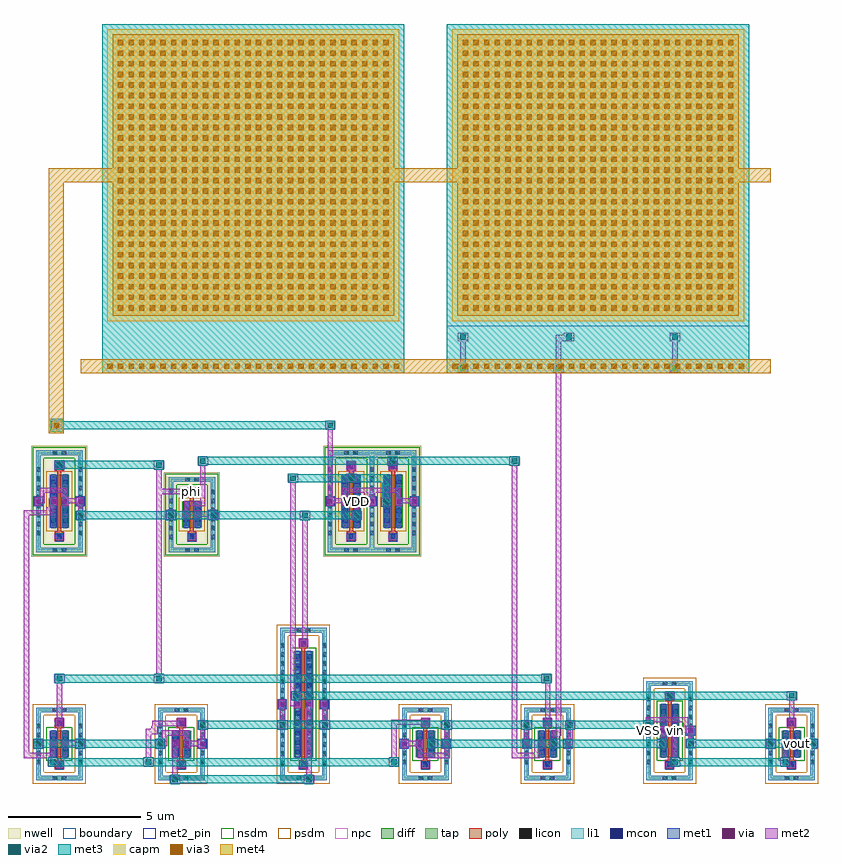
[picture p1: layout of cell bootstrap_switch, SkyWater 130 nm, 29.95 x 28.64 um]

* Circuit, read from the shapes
.subckt bootstrap_switch VDD VSS phi vin vout
XM1 VSS phi sky130_fd_pr__nfet_01v8_34VMYE_2/D VSS sky130_fd_pr__nfet_01v8 w=1 l=0.15
XM2 VSS sky130_fd_pr__nfet_01v8_34VMYE_2/D sky130_fd_pr__nfet_01v8_34VMYE_8/D VSS sky130_fd_pr__nfet_01v8 w=1 l=0.15
XM3 sky130_fd_pr__nfet_01v8_34VMYE_8/D VDD sky130_fd_pr__nfet_01v8_JSF6K7_5/D VSS sky130_fd_pr__nfet_01v8 w=4 l=0.15
XM4 sky130_fd_pr__cap_mim_m3_1_QUBC75_11/C2 sky130_fd_pr__nfet_01v8_34VMYE_2/D VSS VSS sky130_fd_pr__nfet_01v8 w=1 l=0.15
XM5 sky130_fd_pr__cap_mim_m3_1_QUBC75_11/C2 phi sky130_fd_pr__nfet_01v8_34VMYE_4/D VSS sky130_fd_pr__nfet_01v8 w=1 l=0.15
XM6 vin sky130_fd_pr__nfet_01v8_JSF6K7_5/D sky130_fd_pr__cap_mim_m3_1_QUBC75_11/C2 VSS sky130_fd_pr__nfet_01v8 w=2 l=0.15
XM7 vout sky130_fd_pr__nfet_01v8_JSF6K7_5/D vin VSS sky130_fd_pr__nfet_01v8 w=1 l=0.15
XM8 VDD phi sky130_fd_pr__nfet_01v8_34VMYE_2/D VDD sky130_fd_pr__pfet_01v8 w=2 l=0.15
XM9 VDD phi sky130_fd_pr__nfet_01v8_34VMYE_4/D VDD sky130_fd_pr__pfet_01v8 w=1 l=0.15
XM10 VDD sky130_fd_pr__nfet_01v8_JSF6K7_5/D sky130_fd_pr__pfet_01v8_VJT448_10/B sky130_fd_pr__pfet_01v8_VJT448_10/B sky130_fd_pr__pfet_01v8 w=2 l=0.15
XM11 sky130_fd_pr__pfet_01v8_VJT448_10/B sky130_fd_pr__nfet_01v8_34VMYE_4/D sky130_fd_pr__nfet_01v8_JSF6K7_5/D sky130_fd_pr__pfet_01v8_VJT448_10/B sky130_fd_pr__pfet_01v8 w=2 l=0.15
XC12 sky130_fd_pr__pfet_01v8_VJT448_10/B sky130_fd_pr__cap_mim_m3_1_QUBC75_11/C2 sky130_fd_pr__cap_mim_m3_1 w=11 l=11 m=2
.ends

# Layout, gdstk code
from math import pi, radians
import gdstk
lib = gdstk.Library(unit=1e-6, precision=1e-09)
def R(c, l, rs):  # rectangles x0, y0, x1, y1
    for r in rs: c.add(gdstk.rectangle(r[:2], r[2:], *l))
def A(c, l, x, y, w, h, nx, ny, dx, dy):  # array of equal rectangles
    R(c, l, [(x+i*dx, y+j*dy, x+i*dx+w, y+j*dy+h) for i in range(nx) for j in range(ny)])
nwell = (64, 20)
diff = (65, 20)
tap = (65, 44)
poly = (66, 20)
licon = (66, 44)
li1 = (67, 20)
mcon = (67, 44)
met1 = (68, 20)
via = (68, 44)
met2_pin = (69, 16)
met2 = (69, 20)
via2 = (69, 44)
met3 = (70, 20)
via3 = (70, 44)
met4 = (71, 20)
capm = (89, 44)
nsdm = (93, 44)
psdm = (94, 20)
npc = (95, 20)
boundary = (235, 4)

sky130_fd_pr__nfet_01v8_ = lib.new_cell('sky130_fd_pr__nfet_01v8_NK2ZG9')
R(sky130_fd_pr__nfet_01v8_, diff, [(-0.365,-1,0.365,1)])
R(sky130_fd_pr__nfet_01v8_, tap, [(-0.875,-1.87,0.875,-1.7), (-0.875,-1.7,-0.705,1.7), (0.705,-1.7,0.875,1.7), (-0.875,1.7,0.875,1.87)])
R(sky130_fd_pr__nfet_01v8_, poly, [(-0.165,-1.44,0.165,-1.11), (-0.075,-1.11,0.075,1.11), (-0.165,1.11,0.165,1.44)])
A(sky130_fd_pr__nfet_01v8_, licon, -0.875, -1.275, 0.17, 0.17, 1, 8, 0, 0.34)
A(sky130_fd_pr__nfet_01v8_, licon, 0.705, -1.275, 0.17, 0.17, 1, 8, 0, 0.34)
A(sky130_fd_pr__nfet_01v8_, licon, -0.305, -0.935, 0.17, 0.17, 1, 6, 0, 0.34)
A(sky130_fd_pr__nfet_01v8_, licon, 0.135, -0.935, 0.17, 0.17, 1, 6, 0, 0.34)
R(sky130_fd_pr__nfet_01v8_, licon, [(-0.255,-1.87,-0.085,-1.7), (0.085,-1.87,0.255,-1.7), (-0.085,-1.36,0.085,-1.19), (-0.085,1.19,0.085,1.36), (-0.255,1.7,-0.085,1.87), (0.085,1.7,0.255,1.87)])
R(sky130_fd_pr__nfet_01v8_, li1, [(-0.875,-1.87,0.875,-1.7), (-0.875,-1.7,-0.705,1.7), (0.705,-1.7,0.875,1.7), (-0.165,-1.36,0.165,-1.19), (-0.305,-1.02,-0.135,1.02), (0.135,-1.02,0.305,1.02), (-0.165,1.19,0.165,1.36), (-0.875,1.7,0.875,1.87)])
A(sky130_fd_pr__nfet_01v8_, mcon, -0.305, -0.805, 0.17, 0.17, 1, 5, 0, 0.36)
A(sky130_fd_pr__nfet_01v8_, mcon, 0.135, -0.805, 0.17, 0.17, 1, 5, 0, 0.36)
R(sky130_fd_pr__nfet_01v8_, mcon, [(-0.085,-1.36,0.085,-1.19), (-0.085,1.19,0.085,1.36)])
R(sky130_fd_pr__nfet_01v8_, met1, [(-0.145,-1.39,0.145,-1.16), (-0.335,-1,-0.105,1), (0.105,-1,0.335,1), (-0.145,1.16,0.145,1.39)])
R(sky130_fd_pr__nfet_01v8_, nsdm, [(-0.49,-1.125,0.49,1.125)])
R(sky130_fd_pr__nfet_01v8_, psdm, [(-1,-1.995,1,-1.575), (-1,-1.575,-0.58,1.575), (0.58,-1.575,1,1.575), (-1,1.575,1,1.995)])
R(sky130_fd_pr__nfet_01v8_, npc, [(-0.185,-1.46,0.185,-1.09), (-0.185,1.09,0.185,1.46)])
R(sky130_fd_pr__nfet_01v8_, boundary, [(-0.79,-1.785,0.79,1.785)])
sky130_fd_pr__nfet_01v8_.add(gdstk.Label('B', (0,-1.785), layer=67, texttype=5))
sky130_fd_pr__nfet_01v8_.add(gdstk.Label('D', (-0.22,0), layer=67, texttype=5))
sky130_fd_pr__nfet_01v8_.add(gdstk.Label('S', (0.22,0), layer=67, texttype=5))
sky130_fd_pr__nfet_01v8_.add(gdstk.Label('G', (0,1.275), layer=67, texttype=5))

sky130_fd_pr__pfet_01v8_ = lib.new_cell('sky130_fd_pr__pfet_01v8_VJT448')
R(sky130_fd_pr__pfet_01v8_, nwell, [(-1.055,-2.095,1.055,2.095)])
R(sky130_fd_pr__pfet_01v8_, diff, [(-0.365,-1,0.365,1)])
R(sky130_fd_pr__pfet_01v8_, tap, [(-0.875,-1.915,0.875,-1.745), (-0.875,-1.745,-0.705,1.745), (0.705,-1.745,0.875,1.745), (-0.875,1.745,0.875,1.915)])
R(sky130_fd_pr__pfet_01v8_, poly, [(-0.165,-1.485,0.165,-1.155), (-0.075,-1.155,0.075,1.155), (-0.165,1.155,0.165,1.485)])
A(sky130_fd_pr__pfet_01v8_, licon, -0.875, -1.275, 0.17, 0.17, 1, 8, 0, 0.34)
A(sky130_fd_pr__pfet_01v8_, licon, 0.705, -1.275, 0.17, 0.17, 1, 8, 0, 0.34)
A(sky130_fd_pr__pfet_01v8_, licon, -0.305, -0.935, 0.17, 0.17, 1, 6, 0, 0.34)
A(sky130_fd_pr__pfet_01v8_, licon, 0.135, -0.935, 0.17, 0.17, 1, 6, 0, 0.34)
R(sky130_fd_pr__pfet_01v8_, licon, [(-0.255,-1.915,-0.085,-1.745), (0.085,-1.915,0.255,-1.745), (-0.085,-1.405,0.085,-1.235), (-0.085,1.235,0.085,1.405), (-0.255,1.745,-0.085,1.915), (0.085,1.745,0.255,1.915)])
R(sky130_fd_pr__pfet_01v8_, li1, [(-0.875,-1.915,0.875,-1.745), (-0.875,-1.745,-0.705,1.745), (0.705,-1.745,0.875,1.745), (-0.165,-1.405,0.165,-1.235), (-0.305,-1.02,-0.135,1.02), (0.135,-1.02,0.305,1.02), (-0.165,1.235,0.165,1.405), (-0.875,1.745,0.875,1.915)])
A(sky130_fd_pr__pfet_01v8_, mcon, -0.305, -0.805, 0.17, 0.17, 1, 5, 0, 0.36)
A(sky130_fd_pr__pfet_01v8_, mcon, 0.135, -0.805, 0.17, 0.17, 1, 5, 0, 0.36)
R(sky130_fd_pr__pfet_01v8_, mcon, [(-0.085,-1.405,0.085,-1.235), (-0.085,1.235,0.085,1.405)])
R(sky130_fd_pr__pfet_01v8_, met1, [(-0.145,-1.435,0.145,-1.205), (-0.335,-1,-0.105,1), (0.105,-1,0.335,1), (-0.145,1.205,0.145,1.435)])
R(sky130_fd_pr__pfet_01v8_, nsdm, [(-1,-2.04,1,-1.62), (-1,-1.62,-0.58,1.62), (0.58,-1.62,1,1.62), (-1,1.62,1,2.04)])
R(sky130_fd_pr__pfet_01v8_, psdm, [(-0.49,-1.125,0.49,1.125)])
R(sky130_fd_pr__pfet_01v8_, npc, [(-0.185,-1.505,0.185,-1.135), (-0.185,1.135,0.185,1.505)])
R(sky130_fd_pr__pfet_01v8_, boundary, [(-0.79,-1.83,0.79,1.83)])
sky130_fd_pr__pfet_01v8_.add(gdstk.Label('B', (0,-1.83), layer=67, texttype=5))
sky130_fd_pr__pfet_01v8_.add(gdstk.Label('D', (-0.22,0), layer=67, texttype=5))
sky130_fd_pr__pfet_01v8_.add(gdstk.Label('S', (0.22,0), layer=67, texttype=5))
sky130_fd_pr__pfet_01v8_.add(gdstk.Label('G', (0,1.32), layer=67, texttype=5))

c_sky130_fd_pr__nfet_01v8_ = lib.new_cell('sky130_fd_pr__nfet_01v8_34VMYE')
R(c_sky130_fd_pr__nfet_01v8_, diff, [(-0.365,-0.5,0.365,0.5)])
R(c_sky130_fd_pr__nfet_01v8_, tap, [(-0.875,-1.37,0.875,-1.2), (-0.875,-1.2,-0.705,1.2), (0.705,-1.2,0.875,1.2), (-0.875,1.2,0.875,1.37)])
R(c_sky130_fd_pr__nfet_01v8_, poly, [(-0.165,-0.94,0.165,-0.61), (-0.075,-0.61,0.075,0.61), (-0.165,0.61,0.165,0.94)])
A(c_sky130_fd_pr__nfet_01v8_, licon, -0.875, -0.765, 0.17, 0.17, 1, 5, 0, 0.34)
A(c_sky130_fd_pr__nfet_01v8_, licon, 0.705, -0.765, 0.17, 0.17, 1, 5, 0, 0.34)
A(c_sky130_fd_pr__nfet_01v8_, licon, -0.305, -0.425, 0.17, 0.17, 1, 3, 0, 0.34)
A(c_sky130_fd_pr__nfet_01v8_, licon, 0.135, -0.425, 0.17, 0.17, 1, 3, 0, 0.34)
R(c_sky130_fd_pr__nfet_01v8_, licon, [(-0.255,-1.37,-0.085,-1.2), (0.085,-1.37,0.255,-1.2), (-0.085,-0.86,0.085,-0.69), (-0.085,0.69,0.085,0.86), (-0.255,1.2,-0.085,1.37), (0.085,1.2,0.255,1.37)])
R(c_sky130_fd_pr__nfet_01v8_, li1, [(-0.875,-1.37,0.875,-1.2), (-0.875,-1.2,-0.705,1.2), (0.705,-1.2,0.875,1.2), (-0.165,-0.86,0.165,-0.69), (-0.305,-0.52,-0.135,0.52), (0.135,-0.52,0.305,0.52), (-0.165,0.69,0.165,0.86), (-0.875,1.2,0.875,1.37)])
R(c_sky130_fd_pr__nfet_01v8_, mcon, [(-0.085,-0.86,0.085,-0.69), (-0.305,-0.265,-0.135,-0.095), (0.135,-0.265,0.305,-0.095), (-0.305,0.095,-0.135,0.265), (0.135,0.095,0.305,0.265), (-0.085,0.69,0.085,0.86)])
R(c_sky130_fd_pr__nfet_01v8_, met1, [(-0.145,-0.89,0.145,-0.66), (-0.335,-0.5,-0.105,0.5), (0.105,-0.5,0.335,0.5), (-0.145,0.66,0.145,0.89)])
R(c_sky130_fd_pr__nfet_01v8_, nsdm, [(-0.49,-0.625,0.49,0.625)])
R(c_sky130_fd_pr__nfet_01v8_, psdm, [(-1,-1.495,1,-1.075), (-1,-1.075,-0.58,1.075), (0.58,-1.075,1,1.075), (-1,1.075,1,1.495)])
R(c_sky130_fd_pr__nfet_01v8_, npc, [(-0.185,-0.96,0.185,-0.59), (-0.185,0.59,0.185,0.96)])
R(c_sky130_fd_pr__nfet_01v8_, boundary, [(-0.79,-1.285,0.79,1.285)])
c_sky130_fd_pr__nfet_01v8_.add(gdstk.Label('B', (0,-1.285), layer=67, texttype=5))
c_sky130_fd_pr__nfet_01v8_.add(gdstk.Label('D', (-0.22,0), layer=67, texttype=5))
c_sky130_fd_pr__nfet_01v8_.add(gdstk.Label('S', (0.22,0), layer=67, texttype=5))
c_sky130_fd_pr__nfet_01v8_.add(gdstk.Label('G', (0,0.775), layer=67, texttype=5))

c_sky130_fd_pr__pfet_01v8_ = lib.new_cell('sky130_fd_pr__pfet_01v8_7HN6Y2')
R(c_sky130_fd_pr__pfet_01v8_, nwell, [(-1.055,-1.595,1.055,1.595)])
R(c_sky130_fd_pr__pfet_01v8_, diff, [(-0.365,-0.5,0.365,0.5)])
R(c_sky130_fd_pr__pfet_01v8_, tap, [(-0.875,-1.415,0.875,-1.245), (-0.875,-1.245,-0.705,1.245), (0.705,-1.245,0.875,1.245), (-0.875,1.245,0.875,1.415)])
R(c_sky130_fd_pr__pfet_01v8_, poly, [(-0.165,-0.985,0.165,-0.655), (-0.075,-0.655,0.075,0.655), (-0.165,0.655,0.165,0.985)])
A(c_sky130_fd_pr__pfet_01v8_, licon, -0.875, -0.935, 0.17, 0.17, 1, 6, 0, 0.34)
A(c_sky130_fd_pr__pfet_01v8_, licon, 0.705, -0.935, 0.17, 0.17, 1, 6, 0, 0.34)
A(c_sky130_fd_pr__pfet_01v8_, licon, -0.305, -0.425, 0.17, 0.17, 1, 3, 0, 0.34)
A(c_sky130_fd_pr__pfet_01v8_, licon, 0.135, -0.425, 0.17, 0.17, 1, 3, 0, 0.34)
R(c_sky130_fd_pr__pfet_01v8_, licon, [(-0.255,-1.415,-0.085,-1.245), (0.085,-1.415,0.255,-1.245), (-0.085,-0.905,0.085,-0.735), (-0.085,0.735,0.085,0.905), (-0.255,1.245,-0.085,1.415), (0.085,1.245,0.255,1.415)])
R(c_sky130_fd_pr__pfet_01v8_, li1, [(-0.875,-1.415,0.875,-1.245), (-0.875,-1.245,-0.705,1.245), (0.705,-1.245,0.875,1.245), (-0.165,-0.905,0.165,-0.735), (-0.305,-0.52,-0.135,0.52), (0.135,-0.52,0.305,0.52), (-0.165,0.735,0.165,0.905), (-0.875,1.245,0.875,1.415)])
R(c_sky130_fd_pr__pfet_01v8_, mcon, [(-0.085,-0.905,0.085,-0.735), (-0.305,-0.265,-0.135,-0.095), (0.135,-0.265,0.305,-0.095), (-0.305,0.095,-0.135,0.265), (0.135,0.095,0.305,0.265), (-0.085,0.735,0.085,0.905)])
R(c_sky130_fd_pr__pfet_01v8_, met1, [(-0.145,-0.935,0.145,-0.705), (-0.335,-0.5,-0.105,0.5), (0.105,-0.5,0.335,0.5), (-0.145,0.705,0.145,0.935)])
R(c_sky130_fd_pr__pfet_01v8_, nsdm, [(-1,-1.54,1,-1.12), (-1,-1.12,-0.58,1.12), (0.58,-1.12,1,1.12), (-1,1.12,1,1.54)])
R(c_sky130_fd_pr__pfet_01v8_, psdm, [(-0.49,-0.625,0.49,0.625)])
R(c_sky130_fd_pr__pfet_01v8_, npc, [(-0.185,-1.005,0.185,-0.635), (-0.185,0.635,0.185,1.005)])
R(c_sky130_fd_pr__pfet_01v8_, boundary, [(-0.79,-1.33,0.79,1.33)])
c_sky130_fd_pr__pfet_01v8_.add(gdstk.Label('B', (0,-1.33), layer=67, texttype=5))
c_sky130_fd_pr__pfet_01v8_.add(gdstk.Label('D', (-0.22,0), layer=67, texttype=5))
c_sky130_fd_pr__pfet_01v8_.add(gdstk.Label('S', (0.22,0), layer=67, texttype=5))
c_sky130_fd_pr__pfet_01v8_.add(gdstk.Label('G', (0,0.82), layer=67, texttype=5))

c_sky130_fd_pr__nfet_01v8__ = lib.new_cell('sky130_fd_pr__nfet_01v8_JSF6K7')
R(c_sky130_fd_pr__nfet_01v8__, diff, [(-0.365,-2,0.365,2)])
R(c_sky130_fd_pr__nfet_01v8__, tap, [(-0.875,-2.87,0.875,-2.7), (-0.875,-2.7,-0.705,2.7), (0.705,-2.7,0.875,2.7), (-0.875,2.7,0.875,2.87)])
R(c_sky130_fd_pr__nfet_01v8__, poly, [(-0.165,-2.44,0.165,-2.11), (-0.075,-2.11,0.075,2.11), (-0.165,2.11,0.165,2.44)])
A(c_sky130_fd_pr__nfet_01v8__, licon, -0.875, -2.295, 0.17, 0.17, 1, 14, 0, 0.34)
A(c_sky130_fd_pr__nfet_01v8__, licon, 0.705, -2.295, 0.17, 0.17, 1, 14, 0, 0.34)
A(c_sky130_fd_pr__nfet_01v8__, licon, -0.305, -1.785, 0.17, 0.17, 1, 11, 0, 0.34)
A(c_sky130_fd_pr__nfet_01v8__, licon, 0.135, -1.785, 0.17, 0.17, 1, 11, 0, 0.34)
R(c_sky130_fd_pr__nfet_01v8__, licon, [(-0.255,-2.87,-0.085,-2.7), (0.085,-2.87,0.255,-2.7), (-0.085,-2.36,0.085,-2.19), (-0.085,2.19,0.085,2.36), (-0.255,2.7,-0.085,2.87), (0.085,2.7,0.255,2.87)])
R(c_sky130_fd_pr__nfet_01v8__, li1, [(-0.875,-2.87,0.875,-2.7), (-0.875,-2.7,-0.705,2.7), (0.705,-2.7,0.875,2.7), (-0.165,-2.36,0.165,-2.19), (-0.305,-2.02,-0.135,2.02), (0.135,-2.02,0.305,2.02), (-0.165,2.19,0.165,2.36), (-0.875,2.7,0.875,2.87)])
A(c_sky130_fd_pr__nfet_01v8__, mcon, -0.305, -1.885, 0.17, 0.17, 1, 11, 0, 0.36)
A(c_sky130_fd_pr__nfet_01v8__, mcon, 0.135, -1.885, 0.17, 0.17, 1, 11, 0, 0.36)
R(c_sky130_fd_pr__nfet_01v8__, mcon, [(-0.085,-2.36,0.085,-2.19), (-0.085,2.19,0.085,2.36)])
R(c_sky130_fd_pr__nfet_01v8__, met1, [(-0.145,-2.39,0.145,-2.16), (-0.335,-2,-0.105,2), (0.105,-2,0.335,2), (-0.145,2.16,0.145,2.39)])
R(c_sky130_fd_pr__nfet_01v8__, nsdm, [(-0.49,-2.125,0.49,2.125)])
R(c_sky130_fd_pr__nfet_01v8__, psdm, [(-1,-2.995,1,-2.575), (-1,-2.575,-0.58,2.575), (0.58,-2.575,1,2.575), (-1,2.575,1,2.995)])
R(c_sky130_fd_pr__nfet_01v8__, npc, [(-0.185,-2.46,0.185,-2.09), (-0.185,2.09,0.185,2.46)])
R(c_sky130_fd_pr__nfet_01v8__, boundary, [(-0.79,-2.785,0.79,2.785)])
c_sky130_fd_pr__nfet_01v8__.add(gdstk.Label('B', (0,-2.785), layer=67, texttype=5))
c_sky130_fd_pr__nfet_01v8__.add(gdstk.Label('D', (-0.22,0), layer=67, texttype=5))
c_sky130_fd_pr__nfet_01v8__.add(gdstk.Label('S', (0.22,0), layer=67, texttype=5))
c_sky130_fd_pr__nfet_01v8__.add(gdstk.Label('G', (0,2.275), layer=67, texttype=5))

sky130_fd_pr__cap_mim_m3 = lib.new_cell('sky130_fd_pr__cap_mim_m3_1_QUBC75')
R(sky130_fd_pr__cap_mim_m3, met3, [(-6.58,-12.2,6.58,-0.8), (-6.58,0.8,6.58,12.2)])
A(sky130_fd_pr__cap_mim_m3, via3, 6.22, -12, 0.2, 0.2, 1, 28, 0, 0.4)
A(sky130_fd_pr__cap_mim_m3, via3, -5.98, -11.6, 0.2, 0.2, 26, 26, 0.4, 0.4)
A(sky130_fd_pr__cap_mim_m3, via3, 6.22, 1, 0.2, 0.2, 1, 28, 0, 0.4)
A(sky130_fd_pr__cap_mim_m3, via3, -5.98, 1.4, 0.2, 0.2, 26, 26, 0.4, 0.4)
R(sky130_fd_pr__cap_mim_m3, met4, [(-1.14,-13,-0.62,-11.805), (6.06,-13,6.58,13), (-6.185,-11.805,4.425,-1.195), (-1.14,-1.195,-0.62,1.195), (-6.185,1.195,4.425,11.805), (-1.14,11.805,-0.62,13)])
R(sky130_fd_pr__cap_mim_m3, capm, [(-6.38,-12,4.62,-1), (-6.38,1,4.62,12)])
R(sky130_fd_pr__cap_mim_m3, boundary, [(-6.58,0.8,4.82,12.2)])
sky130_fd_pr__cap_mim_m3.add(gdstk.Label('C2', (6.32,-6.5), layer=71, texttype=5))
sky130_fd_pr__cap_mim_m3.add(gdstk.Label('C1', (-0.88,-6.5), layer=71, texttype=5))

bootstrap_switch = lib.new_cell('bootstrap_switch')
A(bootstrap_switch, li1, 10.915, 10.345, 0.17, 0.17, 3, 1, 1.58, 0)
R(bootstrap_switch, li1, [(-0.085,1.2,0.085,1.37), (1.495,1.2,1.665,1.37), (4.515,1.2,4.685,1.37), (6.095,1.2,6.265,1.37), (13.715,1.2,13.885,1.37), (15.295,1.2,15.465,1.37), (18.315,1.2,18.485,1.37), (19.895,1.2,20.065,1.37), (27.515,1.2,27.685,1.37), (29.095,1.2,29.265,1.37), (22.915,1.7,23.085,1.87), (24.495,1.7,24.665,1.87), (9.115,2.7,9.285,2.87), (10.695,2.7,10.865,2.87), (4.915,9.845,5.085,10.015), (6.495,9.845,6.665,10.015), (-0.085,10.345,0.085,10.515), (1.495,10.345,1.665,10.515)])
A(bootstrap_switch, mcon, 10.915, 10.345, 0.17, 0.17, 3, 1, 1.58, 0)
R(bootstrap_switch, mcon, [(-0.085,1.2,0.085,1.37), (1.495,1.2,1.665,1.37), (4.515,1.2,4.685,1.37), (6.095,1.2,6.265,1.37), (13.715,1.2,13.885,1.37), (15.295,1.2,15.465,1.37), (18.315,1.2,18.485,1.37), (19.895,1.2,20.065,1.37), (27.515,1.2,27.685,1.37), (29.095,1.2,29.265,1.37), (22.915,1.7,23.085,1.87), (24.495,1.7,24.665,1.87), (9.115,2.7,9.285,2.87), (10.695,2.7,10.865,2.87), (4.915,9.845,5.085,10.015), (6.495,9.845,6.665,10.015), (-0.085,10.345,0.085,10.515), (1.495,10.345,1.665,10.515)])
A(bootstrap_switch, met1, 0.63, 0.305, 0.32, 0.32, 7, 1, 4.6, 0)
A(bootstrap_switch, met1, 10.83, 10.24, 0.34, 0.38, 3, 1, 1.58, 0)
R(bootstrap_switch, met1, [(-0.17,1.095,0.17,1.475), (1.41,1.095,1.75,1.475), (4.43,1.095,4.77,1.475), (6.01,1.095,6.35,1.475), (13.63,1.095,13.97,1.475), (15.21,1.095,15.55,1.475), (18.23,1.095,18.57,1.475), (19.81,1.095,20.15,1.475), (27.43,1.095,27.77,1.475), (29.01,1.095,29.35,1.475), (0.44,1.125,0.7,1.445), (0.88,1.125,1.14,1.445), (5.04,1.125,5.3,1.445), (5.48,1.125,5.74,1.445), (14.24,1.125,14.5,1.445), (14.68,1.125,14.94,1.445), (18.84,1.125,19.1,1.445), (19.28,1.125,19.54,1.445), (28.04,1.125,28.3,1.445), (28.48,1.125,28.74,1.445), (22.83,1.595,23.17,1.975), (24.41,1.595,24.75,1.975), (23.44,1.625,23.7,1.945), (23.88,1.625,24.14,1.945), (0.63,1.945,0.95,2.265), (5.23,1.945,5.55,2.265), (14.43,1.945,14.75,2.265), (19.03,1.945,19.35,2.265), (28.23,1.945,28.55,2.265), (9.03,2.595,9.37,2.975), (10.61,2.595,10.95,2.975), (9.64,2.625,9.9,2.945), (10.08,2.625,10.34,2.945), (23.63,2.945,23.95,3.265), (9.83,4.945,10.15,5.265), (0.63,8.905,0.95,9.225), (5.63,8.905,5.95,9.225), (11.63,8.905,11.95,9.225), (13.21,8.905,13.53,9.225), (4.83,9.74,5.17,10.12), (6.41,9.74,6.75,10.12), (5.44,9.77,5.7,10.09), (5.88,9.77,6.14,10.09), (-0.17,10.24,0.17,10.62), (1.41,10.24,1.75,10.62), (0.44,10.27,0.7,10.59), (0.88,10.27,1.14,10.59), (11.44,10.27,11.7,10.59), (11.88,10.27,12.14,10.59), (13.02,10.27,13.28,10.59), (13.46,10.27,13.72,10.59), (5.63,10.635,5.95,10.955), (0.63,11.635,0.95,11.955), (11.63,11.635,11.95,11.955), (13.21,11.635,13.53,11.955)])
A(bootstrap_switch, via, 11.935, 10.355, 0.15, 0.15, 3, 1, 0.57, 0)
R(bootstrap_switch, via, [(-0.075,1.21,0.075,1.36), (0.495,1.21,0.645,1.36), (0.935,1.21,1.085,1.36), (1.505,1.21,1.655,1.36), (4.525,1.21,4.675,1.36), (5.095,1.21,5.245,1.36), (5.535,1.21,5.685,1.36), (6.105,1.21,6.255,1.36), (13.725,1.21,13.875,1.36), (14.295,1.21,14.445,1.36), (14.735,1.21,14.885,1.36), (15.305,1.21,15.455,1.36), (18.325,1.21,18.475,1.36), (18.895,1.21,19.045,1.36), (19.335,1.21,19.485,1.36), (19.905,1.21,20.055,1.36), (27.525,1.21,27.675,1.36), (28.095,1.21,28.245,1.36), (28.535,1.21,28.685,1.36), (29.105,1.21,29.255,1.36), (22.925,1.71,23.075,1.86), (23.495,1.71,23.645,1.86), (23.935,1.71,24.085,1.86), (24.505,1.71,24.655,1.86), (0.715,2.03,0.865,2.18), (5.315,2.03,5.465,2.18), (14.515,2.03,14.665,2.18), (19.115,2.03,19.265,2.18), (28.315,2.03,28.465,2.18), (9.125,2.71,9.275,2.86), (9.695,2.71,9.845,2.86), (10.135,2.71,10.285,2.86), (10.705,2.71,10.855,2.86), (23.715,3.03,23.865,3.18), (9.915,5.03,10.065,5.18), (4.925,9.855,5.075,10.005), (5.495,9.855,5.645,10.005), (5.935,9.855,6.085,10.005), (6.505,9.855,6.655,10.005), (-0.075,10.355,0.075,10.505), (0.495,10.355,0.645,10.505), (0.935,10.355,1.085,10.505), (1.505,10.355,1.655,10.505), (10.925,10.355,11.075,10.505), (11.495,10.355,11.645,10.505), (13.515,10.355,13.665,10.505), (14.085,10.355,14.235,10.505), (5.715,10.72,5.865,10.87), (0.715,11.72,0.865,11.87), (11.715,11.72,11.865,11.87), (13.295,11.72,13.445,11.87)])
R(bootstrap_switch, met2_pin, [(28.56,1.235,28.66,1.335), (22.95,1.735,23.05,1.835), (23.96,1.735,24.06,1.835), (11.96,10.38,12.06,10.48), (5.74,10.745,5.84,10.845)])
A(bootstrap_switch, met2, 11.44, 10.27, 0.26, 0.08, 3, 1, 1.01, 0)
R(bootstrap_switch, met2, [(4.955,-0.21,5.345,0.11), (10.005,-0.21,10.395,0.11), (5.05,0.11,5.25,1.125), (10.1,0.11,10.3,2.625), (0.355,0.44,0.745,0.75), (3.955,0.44,4.345,0.76), (13.205,0.44,13.595,0.76), (23.805,0.44,24.195,0.76), (27.955,0.44,28.345,0.76), (-0.55,0.75,0.745,0.76), (14.3,0.75,15.5,0.95), (17.85,0.75,18.9,0.95), (-0.55,0.76,0.65,0.95), (4.05,0.76,4.25,1.65), (13.3,0.76,13.5,2), (23.9,0.76,24.1,1.625), (28.05,0.76,28.25,1.125), (-0.55,0.95,-0.35,9.9), (0.45,0.95,0.65,1.125), (14.3,0.95,14.5,1.125), (15.3,0.95,15.5,1.125), (17.85,0.95,18.05,11.79), (18.7,0.95,18.9,1.125), (-0.13,1.125,0.13,1.14), (0.44,1.125,0.7,1.445), (0.88,1.125,1.14,1.2), (1.45,1.125,1.71,1.14), (4.47,1.125,4.73,1.14), (5.04,1.125,5.3,1.445), (5.48,1.125,5.74,1.2), (6.05,1.125,6.31,1.2), (13.67,1.125,13.93,1.2), (14.24,1.125,14.5,1.2), (14.68,1.125,14.94,1.14), (15.25,1.125,15.51,1.445), (18.27,1.125,18.53,1.445), (18.7,1.125,19.1,1.4), (19.28,1.125,19.54,1.14), (19.85,1.125,20.11,1.2), (27.47,1.125,27.73,1.14), (28.04,1.125,28.3,1.445), (28.48,1.125,28.74,1.445), (29.05,1.125,29.31,1.14), (-0.195,1.14,0.195,1.46), (1.405,1.14,1.795,1.2), (4.405,1.14,4.795,1.2), (14.655,1.14,15.045,1.46), (19.255,1.14,19.645,1.46), (23.305,1.14,23.695,1.46), (24.405,1.14,24.795,1.46), (27.405,1.14,27.795,1.46), (29.005,1.14,29.395,1.46), (0.88,1.2,1.795,1.4), (4.405,1.2,4.85,1.46), (5.48,1.2,6.31,1.4), (13.67,1.2,14.5,1.4), (19.85,1.2,20.15,1.445), (0.88,1.4,1.14,1.445), (1.405,1.4,1.795,1.46), (5.48,1.4,5.74,1.445), (6.05,1.4,6.31,1.445), (13.67,1.4,13.93,1.445), (14.24,1.4,14.5,1.445), (18.84,1.4,19.1,1.445), (5.5,1.445,5.7,1.6), (6.1,1.445,6.3,1.84), (15.3,1.445,15.5,1.84), (18.3,1.445,18.5,1.84), (19.95,1.445,20.15,1.84), (4.65,1.46,4.85,1.6), (19.35,1.46,19.645,1.6), (23.45,1.46,23.65,1.625), (24.5,1.46,24.7,1.625), (4.65,1.6,5.7,1.8), (19.35,1.6,19.7,1.8), (22.87,1.625,23.13,1.84), (23.44,1.625,23.7,1.945), (23.88,1.625,24.14,1.945), (24.45,1.625,24.71,1.7), (4.05,1.65,4.5,1.85), (24.3,1.7,24.71,1.945), (19.5,1.8,19.7,15.29), (6.005,1.84,6.395,2.16), (9.005,1.84,9.395,2.16), (10.605,1.84,10.995,2.16), (15.205,1.84,15.595,2.16), (18.205,1.84,18.595,2.16), (19.855,1.84,20.245,2.16), (22.805,1.84,23.195,2.1), (4.25,1.85,4.5,1.95), (0.66,1.945,0.92,2.265), (5.26,1.945,5.52,1.95), (14.46,1.945,14.72,2), (19.06,1.945,19.32,2.265), (24.3,1.945,24.5,2.1), (28.26,1.945,28.52,2.265), (4.3,1.95,5.52,2.15), (13.3,2,14.72,2.2), (22.805,2.1,24.5,2.16), (5.26,2.15,5.52,2.265), (9.1,2.16,9.3,2.625), (10.7,2.16,10.9,2.625), (22.9,2.16,24.5,2.3), (14.46,2.2,14.72,2.265), (0.7,2.265,0.9,3.59), (19.1,2.265,19.3,3.59), (28.3,2.265,28.5,2.94), (9.07,2.625,9.33,2.945), (9.64,2.625,9.9,2.7), (10.08,2.625,10.34,2.945), (10.65,2.625,10.91,2.945), (9.5,2.7,9.9,2.945), (23.605,2.94,23.995,3.26), (28.205,2.94,28.595,3.26), (9.5,2.945,9.895,3.26), (9.5,3.26,9.7,11.14), (23.66,3.26,23.92,3.265), (0.605,3.59,0.995,3.91), (4.355,3.59,4.745,3.91), (18.955,3.59,19.345,3.91), (4.45,3.91,4.65,10.7), (9.86,4.945,10.12,5), (9.86,5,10.15,5.265), (9.95,5.265,10.15,9.74), (1.405,9.74,1.795,10.06), (4.805,9.74,5.195,10.06), (6.405,9.74,6.795,9.85), (9.855,9.74,10.245,10.06), (11.805,9.74,12.195,10.06), (5.44,9.77,5.7,10.09), (5.88,9.77,6.14,9.85), (5.88,9.85,6.795,10.05), (-0.55,9.9,0.5,10), (-0.55,10,0.6,10.1), (5.88,10.05,6.14,10.09), (6.405,10.05,6.795,10.06), (1.5,10.06,1.7,10.27), (4.87,10.06,5.13,10.09), (6.45,10.06,6.71,10.09), (11.9,10.06,12.1,10.27), (5.5,10.09,5.7,10.25), (0.3,10.1,0.6,10.2), (0.4,10.2,0.6,10.27), (12.905,10.24,13.295,10.56), (5.5,10.25,6.3,10.45), (-0.13,10.27,0.13,10.35), (0.4,10.27,0.7,10.55), (0.88,10.27,1.14,10.35), (1.45,10.27,1.71,10.35), (10.87,10.27,11.13,10.35), (11.88,10.27,12.14,10.59), (14.03,10.27,14.29,10.35), (-0.13,10.35,0.25,10.59), (0.88,10.35,1.71,10.55), (10.87,10.35,11.7,10.55), (12.3,10.35,12.71,10.59), (13.45,10.35,14.29,10.55), (6.1,10.45,6.3,11.79), (0.44,10.55,0.7,10.59), (0.88,10.55,1.14,10.59), (1.45,10.55,1.71,10.59), (10.87,10.55,11.13,10.59), (11.44,10.55,11.7,10.59), (13.45,10.55,13.72,10.59), (14.03,10.55,14.29,10.59), (13.02,10.56,13.28,10.59), (0.05,10.59,0.25,10.75), (0.9,10.59,1.1,10.75), (10.9,10.59,11.1,13.14), (11.45,10.59,11.65,10.75), (12.3,10.59,12.7,10.75), (13.45,10.59,13.65,10.75), (5.66,10.635,5.92,10.7), (4.45,10.7,5.92,10.9), (0.05,10.75,1.1,10.95), (11.45,10.75,13.65,10.95), (4.45,10.9,4.65,11.64), (5.66,10.9,5.92,10.955), (9.405,11.14,9.795,11.46), (11.605,11.14,11.995,11.46), (11.7,11.46,11.9,11.635), (0.66,11.635,0.92,11.64), (11.66,11.635,11.92,11.955), (13.24,11.635,13.5,11.79), (0.605,11.64,0.995,11.96), (4.355,11.64,4.745,11.96), (6.005,11.79,6.395,12.11), (13.155,11.79,13.545,12.11), (17.755,11.79,18.145,12.11), (0.485,13.14,0.895,13.46), (10.805,13.14,11.195,13.46), (15.805,15.29,16.195,15.61), (19.405,15.29,19.795,15.61), (23.805,15.29,24.195,15.61), (15.9,15.61,16.1,16.46), (19.5,15.61,19.7,16.46), (23.9,15.61,24.1,16.46), (15.805,16.46,16.195,16.78), (19.5,16.46,20.195,16.7), (23.805,16.46,24.195,16.78), (19.805,16.7,20.195,16.78)])
A(bootstrap_switch, via2, 15.9, 16.52, 0.2, 0.2, 3, 1, 4, 0)
R(bootstrap_switch, via2, [(5.05,-0.15,5.25,0.05), (10.1,-0.15,10.3,0.05), (0.45,0.5,0.65,0.7), (4.05,0.5,4.25,0.7), (13.3,0.5,13.5,0.7), (23.9,0.5,24.1,0.7), (28.05,0.5,28.25,0.7), (-0.1,1.2,0.1,1.4), (1.5,1.2,1.7,1.4), (4.5,1.2,4.7,1.4), (14.75,1.2,14.95,1.4), (19.35,1.2,19.55,1.4), (23.4,1.2,23.6,1.4), (24.5,1.2,24.7,1.4), (27.5,1.2,27.7,1.4), (29.1,1.2,29.3,1.4), (6.1,1.9,6.3,2.1), (9.1,1.9,9.3,2.1), (10.7,1.9,10.9,2.1), (15.3,1.9,15.5,2.1), (18.3,1.9,18.5,2.1), (19.95,1.9,20.15,2.1), (22.9,1.9,23.1,2.1), (9.6,3,9.8,3.2), (23.7,3,23.9,3.2), (28.3,3,28.5,3.2), (0.7,3.65,0.9,3.85), (4.45,3.65,4.65,3.85), (19.05,3.65,19.25,3.85), (1.5,9.8,1.7,10), (4.9,9.8,5.1,10), (6.5,9.8,6.7,10), (9.95,9.8,10.15,10), (11.9,9.8,12.1,10), (13,10.3,13.2,10.5), (9.5,11.2,9.7,11.4), (11.7,11.2,11.9,11.4), (0.7,11.7,0.9,11.9), (4.45,11.7,4.65,11.9), (6.1,11.85,6.3,12.05), (13.25,11.85,13.45,12.05), (17.85,11.85,18.05,12.05), (0.59,13.2,0.79,13.4), (10.9,13.2,11.1,13.4), (15.9,15.35,16.1,15.55), (19.5,15.35,19.7,15.55), (23.9,15.35,24.1,15.55)])
A(bootstrap_switch, met3, 15.825, 16.445, 0.35, 0.35, 3, 1, 4, 0)
R(bootstrap_switch, met3, [(4.975,-0.225,5.325,-0.2), (10.025,-0.225,10.375,-0.2), (4.975,-0.2,10.375,0.1), (4.975,0.1,5.325,0.125), (10.025,0.1,10.375,0.125), (0.375,0.425,0.725,0.45), (3.975,0.425,4.325,0.45), (13.225,0.425,13.575,0.45), (23.825,0.425,24.175,0.45), (27.975,0.425,28.325,0.45), (0.375,0.45,13.575,0.75), (23.825,0.45,28.325,0.75), (0.375,0.75,0.725,0.775), (3.975,0.75,4.325,0.775), (13.225,0.75,13.575,0.775), (23.825,0.75,24.175,0.775), (27.975,0.75,28.325,0.775), (-0.175,1.125,0.175,1.15), (1.425,1.125,1.775,1.15), (4.425,1.125,4.775,1.15), (14.675,1.125,15.025,1.15), (19.275,1.125,19.625,1.15), (23.325,1.125,23.675,1.15), (24.425,1.125,24.775,1.15), (27.425,1.125,27.775,1.15), (29.025,1.125,29.375,1.15), (-0.175,1.15,4.775,1.45), (14.675,1.15,23.675,1.45), (24.425,1.15,29.375,1.45), (-0.175,1.45,0.175,1.475), (1.425,1.45,1.775,1.475), (4.425,1.45,4.775,1.475), (14.675,1.45,15.025,1.475), (19.275,1.45,19.625,1.475), (23.325,1.45,23.675,1.475), (24.425,1.45,24.775,1.475), (27.425,1.45,27.775,1.475), (29.025,1.45,29.375,1.475), (6.025,1.825,6.375,1.85), (9.025,1.825,9.375,1.85), (10.625,1.825,10.975,1.85), (15.225,1.825,15.575,1.85), (18.225,1.825,18.575,1.85), (19.875,1.825,20.225,1.85), (22.825,1.825,23.175,1.85), (6.025,1.85,23.175,2.15), (6.025,2.15,6.375,2.175), (9.025,2.15,9.375,2.175), (10.625,2.15,10.975,2.175), (15.225,2.15,15.575,2.175), (18.225,2.15,18.575,2.175), (19.875,2.15,20.225,2.175), (22.825,2.15,23.175,2.175), (9.525,2.925,9.875,2.95), (23.625,2.925,23.975,2.95), (28.225,2.925,28.575,2.95), (9.525,2.95,28.575,3.25), (9.525,3.25,9.875,3.275), (23.625,3.25,23.975,3.275), (28.225,3.25,28.575,3.275), (0.625,3.575,0.975,3.6), (4.375,3.575,4.725,3.6), (18.975,3.575,19.325,3.6), (0.625,3.6,19.325,3.9), (0.625,3.9,0.975,3.925), (4.375,3.9,4.725,3.925), (18.975,3.9,19.325,3.925), (1.425,9.725,1.775,9.75), (4.825,9.725,5.175,9.75), (6.425,9.725,6.775,9.75), (9.875,9.725,10.225,9.75), (11.825,9.725,12.175,9.75), (1.425,9.75,12.175,10.05), (1.425,10.05,1.775,10.075), (4.825,10.05,5.175,10.075), (6.425,10.05,6.775,10.075), (9.875,10.05,10.225,10.075), (11.825,10.05,12.175,10.075), (12.925,10.225,13.275,10.575), (12.95,10.575,13.25,11.15), (9.425,11.125,9.775,11.15), (11.625,11.125,11.975,11.15), (9.425,11.15,13.25,11.45), (9.425,11.45,9.775,11.475), (11.625,11.45,11.975,11.475), (0.625,11.625,0.975,11.65), (4.375,11.625,4.725,11.65), (0.625,11.65,4.725,11.95), (6.025,11.775,6.375,11.8), (13.175,11.775,13.525,11.8), (17.775,11.775,18.125,11.8), (6.025,11.8,18.125,12.1), (0.625,11.95,0.975,11.975), (4.375,11.95,4.725,11.975), (6.025,12.1,6.375,12.125), (13.175,12.1,13.525,12.125), (17.775,12.1,18.125,12.125), (0.44,13.06,0.92,13.15), (10.825,13.125,11.175,13.15), (0.44,13.15,11.175,13.45), (0.44,13.45,0.92,13.54), (10.825,13.45,11.175,13.475), (15.825,15.275,16.175,15.3), (19.425,15.275,19.775,15.3), (23.825,15.275,24.175,15.3), (15.825,15.3,24.175,15.6), (15.825,15.6,16.175,15.625), (19.425,15.6,19.775,15.625), (23.825,15.6,24.175,15.625)])
R(bootstrap_switch, via3, [(0.58,13.2,0.78,13.4)])
R(bootstrap_switch, met4, [(0.4,13,0.96,22.46), (0.4,22.46,2.4,22.98)])
bootstrap_switch.add(gdstk.Reference(sky130_fd_pr__nfet_01v8_, (23.79,1.785)))
bootstrap_switch.add(gdstk.Reference(sky130_fd_pr__pfet_01v8_, (0.79,10.43)))
bootstrap_switch.add(gdstk.Reference(c_sky130_fd_pr__nfet_01v8_, (0.79,1.285)))
bootstrap_switch.add(gdstk.Reference(c_sky130_fd_pr__pfet_01v8_, (5.79,9.93)))
bootstrap_switch.add(gdstk.Reference(c_sky130_fd_pr__nfet_01v8_, (19.19,1.285)))
bootstrap_switch.add(gdstk.Reference(c_sky130_fd_pr__nfet_01v8__, (9.99,2.785)))
bootstrap_switch.add(gdstk.Reference(c_sky130_fd_pr__nfet_01v8_, (14.59,1.285)))
bootstrap_switch.add(gdstk.Reference(c_sky130_fd_pr__nfet_01v8_, (28.39,1.285)))
bootstrap_switch.add(gdstk.Reference(c_sky130_fd_pr__nfet_01v8_, (5.39,1.285)))
bootstrap_switch.add(gdstk.Reference(sky130_fd_pr__pfet_01v8_, (13.37,10.43)))
bootstrap_switch.add(gdstk.Reference(sky130_fd_pr__pfet_01v8_, (11.79,10.43)))
bootstrap_switch.add(gdstk.Reference(sky130_fd_pr__cap_mim_m3, (14.6,21.84), rotation=3*pi/2))
bootstrap_switch.add(gdstk.Label('phi', (5.79,10.795), layer=69, texttype=5))
bootstrap_switch.add(gdstk.Label('vin', (24.01,1.785), layer=69, texttype=5))
bootstrap_switch.add(gdstk.Label('vout', (28.61,1.285), layer=69, texttype=5))
bootstrap_switch.add(gdstk.Label('VDD', (12.01,10.43), layer=69, texttype=5))
bootstrap_switch.add(gdstk.Label('VSS', (23,1.785), layer=69, texttype=5))

lib.write_gds('bootstrap_switch.gds')
